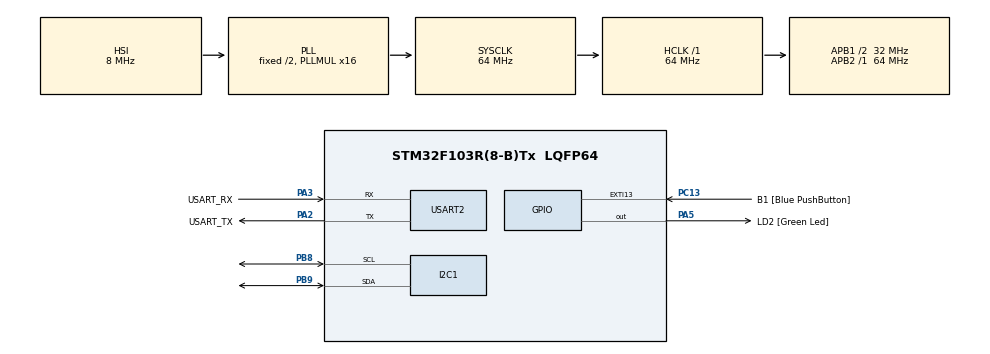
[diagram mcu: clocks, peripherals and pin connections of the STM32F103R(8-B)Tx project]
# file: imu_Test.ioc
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Dma.I2C1_RX.0.Direction=DMA_PERIPH_TO_MEMORY
Dma.I2C1_RX.0.Instance=DMA1_Channel7
Dma.I2C1_RX.0.MemDataAlignment=DMA_MDATAALIGN_BYTE
Dma.I2C1_RX.0.MemInc=DMA_MINC_ENABLE
Dma.I2C1_RX.0.Mode=DMA_NORMAL
Dma.I2C1_RX.0.PeriphDataAlignment=DMA_PDATAALIGN_BYTE
Dma.I2C1_RX.0.PeriphInc=DMA_PINC_DISABLE
Dma.I2C1_RX.0.Priority=DMA_PRIORITY_LOW
Dma.Request0=I2C1_RX
Mcu.Family=STM32F1
Mcu.Name=STM32F103R(8-B)Tx
Mcu.Package=LQFP64
NVIC.DMA1_Channel7_IRQn=true\:0\:0\:false\:false\:true\:false\:true\:true
NVIC.EXTI15_10_IRQn=true\:0\:0\:false\:false\:true\:true\:true\:true
NVIC.PriorityGroup=NVIC_PRIORITYGROUP_4
PA13.GPIO_Label=TMS
PA13.Mode=Serial_Wire
PA13.Signal=SYS_JTMS-SWDIO
PA14.GPIO_Label=TCK
PA14.Mode=Serial_Wire
PA14.Signal=SYS_JTCK-SWCLK
PA2.GPIO_Label=USART_TX
PA2.GPIO_Mode=GPIO_MODE_AF_PP
PA2.GPIO_PuPd=GPIO_NOPULL
PA2.GPIO_Speed=GPIO_SPEED_FREQ_LOW
PA2.Mode=Asynchronous
PA2.Signal=USART2_TX
PA3.GPIO_Label=USART_RX
PA3.GPIO_Mode=GPIO_MODE_AF_PP
PA3.GPIO_PuPd=GPIO_NOPULL
PA3.GPIO_Speed=GPIO_SPEED_FREQ_LOW
PA3.Mode=Asynchronous
PA3.Signal=USART2_RX
PA5.GPIO_Label=LD2 [Green Led]
PA5.GPIO_ModeDefaultOutputPP=GPIO_MODE_OUTPUT_PP
PA5.GPIO_PuPd=GPIO_NOPULL
PA5.GPIO_Speed=GPIO_SPEED_FREQ_LOW
PA5.Signal=GPIO_Output
PB3.GPIO_Label=SWO
PB3.Signal=SYS_JTDO-TRACESWO
PB8.Mode=I2C
PB8.Signal=I2C1_SCL
PB9.Mode=I2C
PB9.Signal=I2C1_SDA
PC13-TAMPER-RTC.GPIO_Label=B1 [Blue PushButton]
PC13-TAMPER-RTC.GPIO_PuPd=GPIO_NOPULL
PC13-TAMPER-RTC.Signal=GPXTI13
PC14-OSC32_IN.Mode=LSE-External-Oscillator
PC14-OSC32_IN.Signal=RCC_OSC32_IN
PC15-OSC32_OUT.Mode=LSE-External-Oscillator
PC15-OSC32_OUT.Signal=RCC_OSC32_OUT
PD0-OSC_IN.Mode=HSE-External-Clock-Source
PD0-OSC_IN.Signal=RCC_OSC_IN
PD1-OSC_OUT.Mode=HSE-External-Clock-Source
PD1-OSC_OUT.Signal=RCC_OSC_OUT
ProjectManager.HeapSize=0x200
ProjectManager.StackSize=0x400
ProjectManager.TargetToolchain=STM32CubeIDE
RCC.AHBFreq_Value=64000000
RCC.APB1CLKDivider=RCC_HCLK_DIV2
RCC.APB1Freq_Value=32000000
RCC.APB1TimFreq_Value=64000000
RCC.APB2Freq_Value=64000000
RCC.APB2TimFreq_Value=64000000
RCC.HCLKFreq_Value=64000000
RCC.PLLMUL=RCC_PLL_MUL16
RCC.RTCClockSelection=RCC_RTCCLKSOURCE_LSE
RCC.SYSCLKFreq_VALUE=64000000
RCC.SYSCLKSource=RCC_SYSCLKSOURCE_PLLCLK
RCC.USBFreq_Value=64000000
USART2.VirtualMode=VM_ASYNC
board=NUCLEO-F103RB

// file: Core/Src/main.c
/* USER CODE BEGIN Header */
/**
  ******************************************************************************
  * @file           : main.c
  * @brief          : Main program body
  ******************************************************************************
  * @attention
  *
  * Copyright (c) 2024 STMicroelectronics.
  * All rights reserved.
  *
  * This software is licensed under terms that can be found in the LICENSE file
  * in the root directory of this software component.
  * If no LICENSE file comes with this software, it is provided AS-IS.
  *
  ******************************************************************************
  */
/* USER CODE END Header */
#include "main.h"

/* USER CODE BEGIN Includes */
#include "stdio.h"
#include "string.h"
/* USER CODE END Includes */

I2C_HandleTypeDef hi2c1;
DMA_HandleTypeDef hdma_i2c1_rx;

UART_HandleTypeDef huart2;

/* USER CODE BEGIN PV */
#define IMU_ADDRESS (0x6B << 1)

#define OUTX_L_G 0x22 //Angular rate x-axis register address lower 8 bits
#define OUTX_H_G 0x23 //Angular rate x-axis register address upper 8 bits
#define OUTY_L_G 0x24 //Angular rate y-axis register address
#define OUTY_H_G 0x25 //Angular rate y-axis register address
#define OUTZ_L_G 0x26 //Angular rate z-axis register address
#define OUTZ_H_G 0x27 //Angular rate z-axis register address

#define OUTX_L_A 0x28 //Linear Acceleration x-axis register address lower 8 bits
#define OUTX_H_A 0x29 //Linear Acceleration x-axis register address upper 8 bits
#define OUTY_L_A 0x2A //Linear Acceleration y-axis register address
#define OUTY_H_A 0x2B //Linear Acceleration y-axis register address
#define OUTZ_L_A 0x2C //Linear Acceleration z-axis register address
#define OUTZ_H_A 0x2D //Linear Acceleration z-axis register address

#define CTRL_1 0x10 //Address of CTRL1 register (Sets ODR for linear accel)
#define CTRL_2 0x11 //Address of CTRL1 register (Sets ODR for angular rate)

#define CTRL_8 0x17 //Address of CTRL8 register (Sets full scale range for linear accel)
#define CTRL_6 0x15 //Address of CTRL6 register (Sets full scale range for angular rate)

/* USER CODE END PV */

void SystemClock_Config(void);
static void MX_GPIO_Init(void);
static void MX_DMA_Init(void);
static void MX_USART2_UART_Init(void);
static void MX_I2C1_Init(void);

int main(void)
{

  /* USER CODE BEGIN 1 */
	int8_t bufx[2];
	int8_t bufy[2];
	int8_t bufz[2];
	int8_t debug_buf[200];
	HAL_StatusTypeDef retx;
	HAL_StatusTypeDef rety;
	HAL_StatusTypeDef retz;

//	typedef struct  {
//	  float x;
//	  float y;
//	  float z;
//	};

  /* USER CODE END 1 */

  /* MCU Configuration--------------------------------------------------------*/

  /* Reset of all peripherals, Initializes the Flash interface and the Systick. */
  HAL_Init();

  /* Configure the system clock */
  SystemClock_Config();

  /* Initialize all configured peripherals */
  MX_GPIO_Init();
  MX_DMA_Init();
  MX_USART2_UART_Init();
  MX_I2C1_Init();

  /* Infinite loop */
  while (1)
  {

	/* USER CODE BEGIN 3 */
	// Read OUTX_L_A and OUTX_H_A
	  	// Write to CTRL1 register
		bufx[0] = 0x74; // Set ODR to 30 Hz, normal mode
		retx = HAL_I2C_Mem_Write(&hi2c1, IMU_ADDRESS, CTRL_1, 1, bufx, 1, 1000);
		bufy[0] = 0x02; // Set the range to +-8g (might have to change later - check if sufficient for cornering?)
		rety = HAL_I2C_Mem_Write(&hi2c1, IMU_ADDRESS, CTRL_8, 1, bufy, 1, 1000);

		if (retx != HAL_OK) {
			sprintf((char*)debug_buf, "Error writing CTRL1: %d\r\n", retx);
			HAL_UART_Transmit(&huart2, debug_buf, strlen((char*)debug_buf), 1000);
		}
		if (rety != HAL_OK) {
			sprintf((char*)debug_buf, "Error writing CTRL8: %d\r\n", rety);
			HAL_UART_Transmit(&huart2, debug_buf, strlen((char*)debug_buf), 1000);
		}

		retx = HAL_I2C_Mem_Read(&hi2c1, IMU_ADDRESS, OUTX_L_A, 1, bufx, 2, 1000);
		rety = HAL_I2C_Mem_Read(&hi2c1, IMU_ADDRESS, OUTY_L_A, 1, bufy, 2, 1000);
		retz = HAL_I2C_Mem_Read(&hi2c1, IMU_ADDRESS, OUTZ_L_A, 1, bufz, 2, 1000);

		if (retx != HAL_OK || rety != HAL_OK || retz != HAL_OK) {
			sprintf((char*)debug_buf, "Error reading accel: %d\r\n", retx);
			HAL_UART_Transmit(&huart2, debug_buf, strlen((char*)debug_buf), 1000);
		}

		else {
			int16_t Accel_X_RAW = (int16_t)(bufx[1] << 8 | bufx[0]);
			int16_t Accel_Y_RAW = (int16_t)(bufy[1] << 8 | bufy[0]);
			int16_t Accel_Z_RAW = (int16_t)(bufz[1] << 8 | bufz[0]);

			float accel_x = Accel_X_RAW * 0.488; // Convert to mg (Multiply by Datasheet value of 0.488)
			float accel_y = Accel_Y_RAW * 0.488; // Convert to mg
			float accel_z = Accel_Z_RAW * 0.488; // Convert to mg

			sprintf((char*)debug_buf, "Accel X: %.2f mg\t Accel Y: %.2f mg\t Accel Z: %.2f mg\r\n", accel_x, accel_y, accel_z);
			HAL_UART_Transmit(&huart2, debug_buf, strlen((char*)debug_buf), 1000);
		}

		// Write to CTRL2 register
		bufx[0] = 0x54; // Set ODR to 30HZ, low-power mode;
		retx = HAL_I2C_Mem_Write(&hi2c1, IMU_ADDRESS, CTRL_2, 1, bufx, 1, 1000);
		bufy[0] = 0x01; // Set the scale to +-500 degrees per sec (dps) (might have to change later - check if sufficient for cornering?)
		rety = HAL_I2C_Mem_Write(&hi2c1, IMU_ADDRESS, CTRL_6, 1, bufy, 1, 1000);

		if (retx != HAL_OK) {
			sprintf((char*)debug_buf, "Error writing CTRL2: %d\r\n", retx);
			HAL_UART_Transmit(&huart2, debug_buf, strlen((char*)debug_buf), 1000);
		}

		if (rety != HAL_OK) {
			sprintf((char*)debug_buf, "Error writing CTRL6: %d\r\n", rety);
			HAL_UART_Transmit(&huart2, debug_buf, strlen((char*)debug_buf), 1000);
		}

		retx = HAL_I2C_Mem_Read(&hi2c1, IMU_ADDRESS, OUTX_L_G, 1, bufx, 2, 1000);
		rety = HAL_I2C_Mem_Read(&hi2c1, IMU_ADDRESS, OUTY_L_G, 1, bufy, 2, 1000);
		retz = HAL_I2C_Mem_Read(&hi2c1, IMU_ADDRESS, OUTZ_L_G, 1, bufz, 2, 1000);

		if (retx != HAL_OK || rety != HAL_OK || retz != HAL_OK) {
			sprintf((char*)debug_buf, "Error reading gyro: %d\r\n", retx);
			HAL_UART_Transmit(&huart2, debug_buf, strlen((char*)debug_buf), 1000);
		}

		else {
			int16_t Gyro_X_RAW = (int16_t)(bufx[1] << 8 | bufx[0]);
			int16_t Gyro_Y_RAW = (int16_t)(bufy[1] << 8 | bufy[0]);
			int16_t Gyro_Z_RAW = (int16_t)(bufz[1] << 8 | bufz[0]);

			float gyro_x = Gyro_X_RAW * 8.75; // Convert to milli degrees per sec (mdps) (Multiply by Datasheet value of 8.75)
			float gyro_y = Gyro_Y_RAW * 8.75; // Convert to mdps
			float gyro_z = Gyro_Z_RAW * 8.75; // Convert to mdps

			sprintf((char*)debug_buf, "Gyro X: %.2f mdps\t Gyro Y: %.2f mdps\t Gyro Z: %.2f mdps\r\n", gyro_x, gyro_y, gyro_z);
			HAL_UART_Transmit(&huart2, debug_buf, strlen((char*)debug_buf), 1000);
			osDelay(2000);
		}

	}  /* USER CODE END 3 */
}

void SystemClock_Config(void)
{
  RCC_OscInitTypeDef RCC_OscInitStruct = {0};
  RCC_ClkInitTypeDef RCC_ClkInitStruct = {0};

  /** Initializes the RCC Oscillators according to the specified parameters
  * in the RCC_OscInitTypeDef structure.
  */
  RCC_OscInitStruct.OscillatorType = RCC_OSCILLATORTYPE_HSI;
  RCC_OscInitStruct.HSIState = RCC_HSI_ON;
  RCC_OscInitStruct.HSICalibrationValue = RCC_HSICALIBRATION_DEFAULT;
  RCC_OscInitStruct.PLL.PLLState = RCC_PLL_ON;
  RCC_OscInitStruct.PLL.PLLSource = RCC_PLLSOURCE_HSI_DIV2;
  RCC_OscInitStruct.PLL.PLLMUL = RCC_PLL_MUL16;
  if (HAL_RCC_OscConfig(&RCC_OscInitStruct) != HAL_OK)
  {
    Error_Handler();
  }

  /** Initializes the CPU, AHB and APB buses clocks
  */
  RCC_ClkInitStruct.ClockType = RCC_CLOCKTYPE_HCLK|RCC_CLOCKTYPE_SYSCLK
                              |RCC_CLOCKTYPE_PCLK1|RCC_CLOCKTYPE_PCLK2;
  RCC_ClkInitStruct.SYSCLKSource = RCC_SYSCLKSOURCE_PLLCLK;
  RCC_ClkInitStruct.AHBCLKDivider = RCC_SYSCLK_DIV1;
  RCC_ClkInitStruct.APB1CLKDivider = RCC_HCLK_DIV2;
  RCC_ClkInitStruct.APB2CLKDivider = RCC_HCLK_DIV1;

  if (HAL_RCC_ClockConfig(&RCC_ClkInitStruct, FLASH_LATENCY_2) != HAL_OK)
  {
    Error_Handler();
  }
}

static void MX_I2C1_Init(void)
{

  hi2c1.Instance = I2C1;
  hi2c1.Init.ClockSpeed = 100000;
  hi2c1.Init.DutyCycle = I2C_DUTYCYCLE_2;
  hi2c1.Init.OwnAddress1 = 0;
  hi2c1.Init.AddressingMode = I2C_ADDRESSINGMODE_7BIT;
  hi2c1.Init.DualAddressMode = I2C_DUALADDRESS_DISABLE;
  hi2c1.Init.OwnAddress2 = 0;
  hi2c1.Init.GeneralCallMode = I2C_GENERALCALL_DISABLE;
  hi2c1.Init.NoStretchMode = I2C_NOSTRETCH_DISABLE;
  if (HAL_I2C_Init(&hi2c1) != HAL_OK)
  {
    Error_Handler();
  }

}

static void MX_USART2_UART_Init(void)
{

  huart2.Instance = USART2;
  huart2.Init.BaudRate = 115200;
  huart2.Init.WordLength = UART_WORDLENGTH_8B;
  huart2.Init.StopBits = UART_STOPBITS_1;
  huart2.Init.Parity = UART_PARITY_NONE;
  huart2.Init.Mode = UART_MODE_TX_RX;
  huart2.Init.HwFlowCtl = UART_HWCONTROL_NONE;
  huart2.Init.OverSampling = UART_OVERSAMPLING_16;
  if (HAL_UART_Init(&huart2) != HAL_OK)
  {
    Error_Handler();
  }

}

static void MX_DMA_Init(void)
{

  /* DMA controller clock enable */
  __HAL_RCC_DMA1_CLK_ENABLE();

  /* DMA interrupt init */
  /* DMA1_Channel7_IRQn interrupt configuration */
  HAL_NVIC_SetPriority(DMA1_Channel7_IRQn, 0, 0);
  HAL_NVIC_EnableIRQ(DMA1_Channel7_IRQn);

}

static void MX_GPIO_Init(void)
{
  GPIO_InitTypeDef GPIO_InitStruct = {0};

  /* GPIO Ports Clock Enable */
  __HAL_RCC_GPIOC_CLK_ENABLE();
  __HAL_RCC_GPIOD_CLK_ENABLE();
  __HAL_RCC_GPIOA_CLK_ENABLE();
  __HAL_RCC_GPIOB_CLK_ENABLE();

  /*Configure GPIO pin Output Level */
  HAL_GPIO_WritePin(LD2_GPIO_Port, LD2_Pin, GPIO_PIN_RESET);

  /*Configure GPIO pin : B1_Pin */
  GPIO_InitStruct.Pin = B1_Pin;
  GPIO_InitStruct.Mode = GPIO_MODE_IT_RISING;
  GPIO_InitStruct.Pull = GPIO_NOPULL;
  HAL_GPIO_Init(B1_GPIO_Port, &GPIO_InitStruct);

  /*Configure GPIO pin : LD2_Pin */
  GPIO_InitStruct.Pin = LD2_Pin;
  GPIO_InitStruct.Mode = GPIO_MODE_OUTPUT_PP;
  GPIO_InitStruct.Pull = GPIO_NOPULL;
  GPIO_InitStruct.Speed = GPIO_SPEED_FREQ_LOW;
  HAL_GPIO_Init(LD2_GPIO_Port, &GPIO_InitStruct);

  /* EXTI interrupt init*/
  HAL_NVIC_SetPriority(EXTI15_10_IRQn, 0, 0);
  HAL_NVIC_EnableIRQ(EXTI15_10_IRQn);

}

void Error_Handler(void)
{
  __disable_irq();
  while (1)
  {
  }
}
